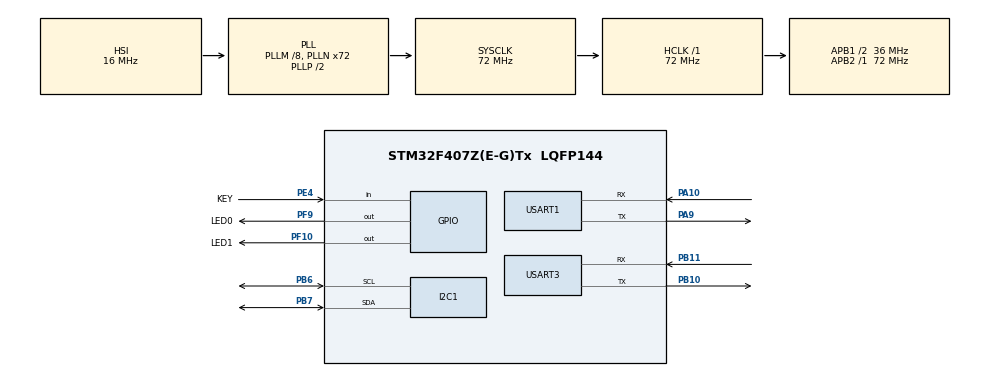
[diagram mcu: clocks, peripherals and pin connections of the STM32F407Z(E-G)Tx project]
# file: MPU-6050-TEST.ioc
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I2C1.I2C_Mode=I2C_Fast
Mcu.Family=STM32F4
Mcu.Name=STM32F407Z(E-G)Tx
Mcu.Package=LQFP144
NVIC.PriorityGroup=NVIC_PRIORITYGROUP_4
NVIC.USART3_IRQn=true\:0\:0\:false\:false\:true\:true\:true\:true
PA10.Mode=Asynchronous
PA10.Signal=USART1_RX
PA13.Mode=Serial_Wire
PA13.Signal=SYS_JTMS-SWDIO
PA14.Mode=Serial_Wire
PA14.Signal=SYS_JTCK-SWCLK
PA9.Mode=Asynchronous
PA9.Signal=USART1_TX
PB10.Mode=Asynchronous
PB10.Signal=USART3_TX
PB11.Mode=Asynchronous
PB11.Signal=USART3_RX
PB6.GPIO_Pu=GPIO_NOPULL
PB6.Mode=I2C
PB6.Signal=I2C1_SCL
PB7.GPIO_Pu=GPIO_NOPULL
PB7.Mode=I2C
PB7.Signal=I2C1_SDA
PC14-OSC32_IN.Mode=LSE-External-Oscillator
PC14-OSC32_IN.Signal=RCC_OSC32_IN
PC15-OSC32_OUT.Mode=LSE-External-Oscillator
PC15-OSC32_OUT.Signal=RCC_OSC32_OUT
PE4.GPIO_Label=KEY
PE4.Signal=GPIO_Input
PF10.GPIO_Label=LED1
PF10.PinState=GPIO_PIN_RESET
PF10.Signal=GPIO_Output
PF9.GPIO_Label=LED0
PF9.GPIO_Speed=GPIO_SPEED_FREQ_LOW
PF9.PinState=GPIO_PIN_SET
PF9.Signal=GPIO_Output
PH0-OSC_IN.Mode=HSE-External-Oscillator
PH0-OSC_IN.Signal=RCC_OSC_IN
PH1-OSC_OUT.Mode=HSE-External-Oscillator
PH1-OSC_OUT.Signal=RCC_OSC_OUT
ProjectManager.HeapSize=0x200
ProjectManager.StackSize=0x400
ProjectManager.TargetToolchain=MDK-ARM V5.32
RCC.48MHZClocksFreq_Value=36000000
RCC.AHBFreq_Value=72000000
RCC.APB1CLKDivider=RCC_HCLK_DIV2
RCC.APB1Freq_Value=36000000
RCC.APB1TimFreq_Value=72000000
RCC.APB2Freq_Value=72000000
RCC.APB2TimFreq_Value=72000000
RCC.CortexFreq_Value=72000000
RCC.HCLKFreq_Value=72000000
RCC.HSE_VALUE=25000000
RCC.HSI_VALUE=16000000
RCC.PLLM=8
RCC.PLLN=72
RCC.SYSCLKFreq_VALUE=72000000
RCC.SYSCLKSource=RCC_SYSCLKSOURCE_PLLCLK
RCC.VCOOutputFreq_Value=144000000
USART1.VirtualMode=VM_ASYNC
USART3.VirtualMode=VM_ASYNC
board=custom

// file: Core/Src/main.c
/* USER CODE BEGIN Header */
/**
  ******************************************************************************
  * @file           : main.c
  * @brief          : Main program body
  ******************************************************************************
  * @attention
  *
  * Copyright (c) 2026 STMicroelectronics.
  * All rights reserved.
  *
  * This software is licensed under terms that can be found in the LICENSE file
  * in the root directory of this software component.
  * If no LICENSE file comes with this software, it is provided AS-IS.
  *
  ******************************************************************************
  */
/* USER CODE END Header */
#include "main.h"
#include "i2c.h"
#include "usart.h"
#include "gpio.h"

/* USER CODE BEGIN Includes */
#include "stdio.h"
#include "MPU6050.h"
#include "tof.h"
#include "stdint.h"
/* USER CODE END Includes */

/* USER CODE BEGIN PV */
  #define LENGTH 64
  #define UART_LINE_MAX 64
  uint8_t RxBuff[LENGTH];
/* USER CODE END PV */

  void SystemClock_Config(void);

int main(void)
{

  /* USER CODE BEGIN 1 */

  HAL_UARTEx_ReceiveToIdle_IT (&huart3 ,RxBuff , LENGTH);
  printf ("当前已开启接收中断，等待数据发送！\r\n");
  /* USER CODE END 1 */

  /* MCU Configuration--------------------------------------------------------*/

  /* Reset of all peripherals, Initializes the Flash interface and the Systick. */
  HAL_Init();

  /* Configure the system clock */
  SystemClock_Config();

  /* Initialize all configured peripherals */
  MX_GPIO_Init();
  MX_I2C1_Init();
  MX_USART1_UART_Init();
  MX_USART3_UART_Init();
  /* USER CODE BEGIN 2 */
		int16_t acc_x,acc_y,acc_z,gy_x,gy_y,gy_z;
		Init_MPU ();
  /* USER CODE END 2 */

  /* Infinite loop */
  /* USER CODE BEGIN WHILE */
  while (1)
  {
		  // HAL_Delay (10);
			// printf("readID\r\n");
			// uint8_t iic_ID = Single_ReadI2C(0x75);
			// HAL_Delay (500);
			// HAL_GPIO_TogglePin(GPIOF, GPIO_PIN_10);
			// printf("MPU6050 ID = 0x%02X\r\n",iic_ID);
			// printf("获取数据\r\n");
			// acc_x= GetData(ACCEL_XOUT_H);
			// acc_y= GetData(ACCEL_YOUT_H);
			// acc_z= GetData(ACCEL_ZOUT_H);
			// gy_x= GetData(GYRO_XOUT_H);
			// gy_y= GetData(GYRO_YOUT_H);
			// gy_z= GetData(GYRO_ZOUT_H);

			// printf("ACC: \r\nX=%d\r\nY=%d\r\nZ=%d \r\n",acc_x,acc_y,acc_z);
			// printf("GYRO: \r\nX=%d\r\nY=%d\r\nZ=%d\r\n",gy_x,gy_y,gy_z);
			// HAL_Delay (2000);
      //  printf("readID\r\n");
      //  tof_read_id();

      //HAL_Delay (10);
	    // HAL_UARTEx_RzEventCallback (&huart3, LENGTH);
    /* USER CODE END WHILE */

  }
}

void SystemClock_Config(void)
{
  RCC_OscInitTypeDef RCC_OscInitStruct = {0};
  RCC_ClkInitTypeDef RCC_ClkInitStruct = {0};

  /** Configure the main internal regulator output voltage
  */
  __HAL_RCC_PWR_CLK_ENABLE();
  __HAL_PWR_VOLTAGESCALING_CONFIG(PWR_REGULATOR_VOLTAGE_SCALE1);

  /** Initializes the RCC Oscillators according to the specified parameters
  * in the RCC_OscInitTypeDef structure.
  */
  RCC_OscInitStruct.OscillatorType = RCC_OSCILLATORTYPE_HSI;
  RCC_OscInitStruct.HSIState = RCC_HSI_ON;
  RCC_OscInitStruct.HSICalibrationValue = RCC_HSICALIBRATION_DEFAULT;
  RCC_OscInitStruct.PLL.PLLState = RCC_PLL_ON;
  RCC_OscInitStruct.PLL.PLLSource = RCC_PLLSOURCE_HSI;
  RCC_OscInitStruct.PLL.PLLM = 8;
  RCC_OscInitStruct.PLL.PLLN = 72;
  RCC_OscInitStruct.PLL.PLLP = RCC_PLLP_DIV2;
  RCC_OscInitStruct.PLL.PLLQ = 4;
  if (HAL_RCC_OscConfig(&RCC_OscInitStruct) != HAL_OK)
  {
    Error_Handler();
  }

  /** Initializes the CPU, AHB and APB buses clocks
  */
  RCC_ClkInitStruct.ClockType = RCC_CLOCKTYPE_HCLK|RCC_CLOCKTYPE_SYSCLK
                              |RCC_CLOCKTYPE_PCLK1|RCC_CLOCKTYPE_PCLK2;
  RCC_ClkInitStruct.SYSCLKSource = RCC_SYSCLKSOURCE_PLLCLK;
  RCC_ClkInitStruct.AHBCLKDivider = RCC_SYSCLK_DIV1;
  RCC_ClkInitStruct.APB1CLKDivider = RCC_HCLK_DIV2;
  RCC_ClkInitStruct.APB2CLKDivider = RCC_HCLK_DIV1;

  if (HAL_RCC_ClockConfig(&RCC_ClkInitStruct, FLASH_LATENCY_2) != HAL_OK)
  {
    Error_Handler();
  }
}

/* USER CODE BEGIN 4 */
int fputc (int ch, FILE *f)
{
	HAL_UART_Transmit (&huart1, (uint8_t *)&ch, 1, HAL_MAX_DELAY);
	return ch;
}

void HAL_UART_RxCpltCallback(UART_HandleTypeDef *huart)
{
    if(huart->Instance == USART3)
    {
        uart_rx_byte(RxBuff[0]);
        HAL_UART_Receive_IT(&huart3, RxBuff, 1);
        printf("Received byte: %cMM\r\n", RxBuff[0]);
    }
}

//  void HAL_UARTE3_RzEventCallback (UART_HandleTypeDef *huart, uint16_t Size)
//  {
//    if (huart->Instance==USART3)// 判断发生接收中断的串
//    {
//      printf ("\r\n 已经接收到不定长数据如下:");
//    }
//    HAL_UART_Transmit_IT (&huart3, RxBuff,Size);// 回显发送的数据
//    HAL_UARTEx_ReceiveToIdle_IT (&huart3, RxBuff,LENGTH);
//  }// 使能接收中断

// void HAL_UARTE1_RzEventCallback (UART_HandleTypeDef *huart, uint16_t Size)
// {
//   if (huart->Instance==USART1)// 判断发生接收中断的串 0
//   {
//     printf ("\r\n 已经接收到不定长数据如下:");
//   }
//   HAL_UART_Transmit_IT (&huart1, RxBuff,Size);// 回显发送的数据
//   HAL_UARTEx_ReceiveToIdle_IT (&huart1, RxBuff,LENGTH);
// }// 使能接收中断

/* USER CODE END 4 */

void Error_Handler(void)
{
  __disable_irq();
  while (1)
  {
  }
}
